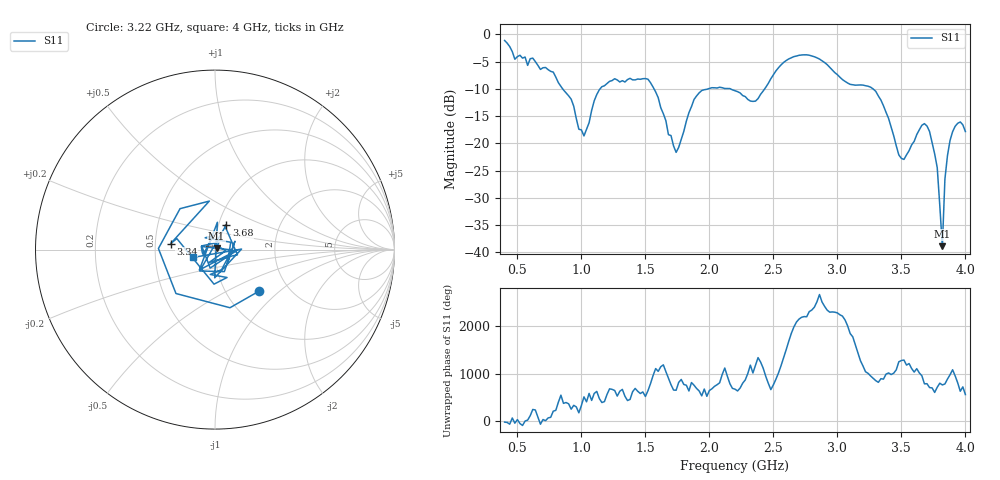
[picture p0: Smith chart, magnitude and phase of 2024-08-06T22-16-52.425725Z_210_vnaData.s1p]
!Created with skrf (http://scikit-rf.org).
# Hz S RI R 50.0
!freq ReS11 ImS11
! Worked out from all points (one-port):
!   181 points, 400 MHz to 4 GHz, reference 50 ohm
!   lowest |S11| = -38.9 dB at 3.82 GHz (marker M1), VSWR 1.02, Z = 50.8 + j0.774 ohm
!   |S11| at or under -10 dB: 853.8 MHz to 1.146 GHz (291.9 MHz wide, 29.2 % of centre); 1.567 GHz to 1.99 GHz (422.4 MHz wide, 23.7 % of centre); 3.278 GHz to end of sweep (the widest 3 of 4)
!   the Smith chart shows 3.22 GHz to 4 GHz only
!   S11 on the Smith chart (normalised r, x): 3.22 GHz: 1.43, -0.74; 3.34 GHz: 0.60, +0.04; 3.68 GHz: 1.09, +0.31; 4 GHz: 0.78, -0.07
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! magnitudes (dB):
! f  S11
! 400 MHz  -1.1
! 480 MHz  -4.6
! 620 MHz  -4.4
! 860 MHz  -10.2
! 1.02 GHz  -18.6
! 1.14 GHz  -10.2
! 1.3 GHz  -8.7
! 1.52 GHz  -8.2
! 1.74 GHz  -21.6
! 1.76 GHz  -20.7
! 1.92 GHz  -10.7
! 2.2 GHz  -10.3
! 2.36 GHz  -12.2
! 2.66 GHz  -4.1
! 2.86 GHz  -4.5
! 3.1 GHz  -9.2
! 3.22 GHz  -9.4
! 3.34 GHz  -12.1
! 3.48 GHz  -22.1
! 3.56 GHz  -21.3
! 3.68 GHz  -16.4
! 3.72 GHz  -17.8
! 3.78 GHz  -24.5
! 3.82 GHz  -38.9
! 3.84 GHz  -26.6
! 3.88 GHz  -19.5
! 3.94 GHz  -16.3
! 4 GHz  -17.8
